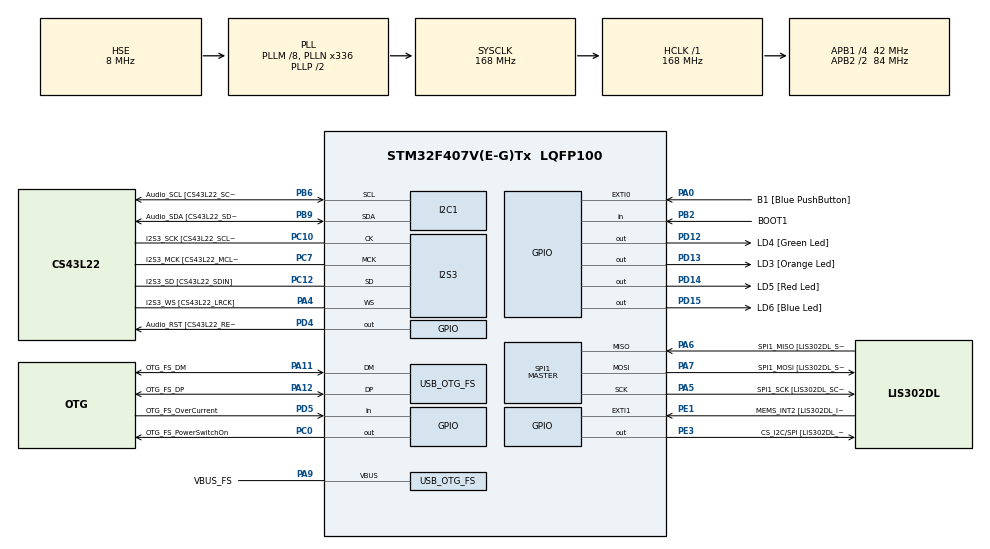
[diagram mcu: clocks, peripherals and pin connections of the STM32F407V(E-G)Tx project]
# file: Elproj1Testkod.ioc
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FREERTOS.Tasks01=PrintText,24,128,StartDefaultTask,Default,NULL,Dynamic,NULL,NULL;SkibidiRizzler,8,128,StartTask02,Default,NULL,Dynamic,NULL,NULL
I2S3.AudioFreq-Half_Duplex_Master=I2S_AUDIOFREQ_96K
I2S3.ErrorAudioFreq=-2.34 %
I2S3.ErrorAudioFreq-Half_Duplex_Master=0.8 %
I2S3.FullDuplexMode=I2S_FULLDUPLEXMODE_DISABLE
I2S3.Instance=SPI$Index
I2S3.RealAudioFreq=93.75 KHz
I2S3.RealAudioFreq-Half_Duplex_Master=96.774 KHz
I2S3.VirtualMode=I2S_MODE_MASTER
Mcu.Family=STM32F4
Mcu.Name=STM32F407V(E-G)Tx
Mcu.Package=LQFP100
NVIC.OTG_FS_IRQn=true\:5\:0\:false\:false\:true\:true\:true\:true\:true
NVIC.PriorityGroup=NVIC_PRIORITYGROUP_4
PA0-WKUP.GPIO_Label=B1 [Blue PushButton]
PA0-WKUP.GPIO_ModeDefaultEXTI=GPIO_MODE_EVT_RISING
PA0-WKUP.GPIO_PuPd=GPIO_NOPULL
PA0-WKUP.Signal=GPXTI0
PA10.GPIO_Label=OTG_FS_ID
PA10.GPIO_Mode=GPIO_MODE_AF_PP
PA10.GPIO_PuPd=GPIO_NOPULL
PA10.GPIO_Speed=GPIO_SPEED_FREQ_LOW
PA10.Signal=USB_OTG_FS_ID
PA11.GPIO_Label=OTG_FS_DM
PA11.GPIO_Mode=GPIO_MODE_AF_PP
PA11.GPIO_PuPd=GPIO_NOPULL
PA11.GPIO_Speed=GPIO_SPEED_FREQ_LOW
PA11.Mode=Host_Only
PA11.Signal=USB_OTG_FS_DM
PA12.GPIO_Label=OTG_FS_DP
PA12.GPIO_Mode=GPIO_MODE_AF_PP
PA12.GPIO_PuPd=GPIO_NOPULL
PA12.GPIO_Speed=GPIO_SPEED_FREQ_LOW
PA12.Mode=Host_Only
PA12.Signal=USB_OTG_FS_DP
PA13.GPIO_Label=SWDIO
PA13.Mode=Serial_Wire
PA13.Signal=SYS_JTMS-SWDIO
PA14.GPIO_Label=SWCLK
PA14.Mode=Serial_Wire
PA14.Signal=SYS_JTCK-SWCLK
PA4.GPIO_Label=I2S3_WS [CS43L22_LRCK]
PA4.GPIO_Mode=GPIO_MODE_AF_PP
PA4.GPIO_PuPd=GPIO_NOPULL
PA4.GPIO_Speed=GPIO_SPEED_FREQ_LOW
PA4.Mode=Half_Duplex_Master
PA4.Signal=I2S3_WS
PA5.GPIO_Label=SPI1_SCK [LIS302DL_SCL/SPC]
PA5.GPIO_Mode=GPIO_MODE_AF_PP
PA5.GPIO_PuPd=GPIO_NOPULL
PA5.GPIO_Speed=GPIO_SPEED_FREQ_LOW
PA5.Mode=Full_Duplex_Master
PA5.Signal=SPI1_SCK
PA6.GPIO_Label=SPI1_MISO [LIS302DL_SDO]
PA6.GPIO_Mode=GPIO_MODE_AF_PP
PA6.GPIO_PuPd=GPIO_NOPULL
PA6.GPIO_Speed=GPIO_SPEED_FREQ_LOW
PA6.Mode=Full_Duplex_Master
PA6.Signal=SPI1_MISO
PA7.GPIO_Label=SPI1_MOSI [LIS302DL_SDA/SDI/SDO]
PA7.GPIO_Mode=GPIO_MODE_AF_PP
PA7.GPIO_PuPd=GPIO_NOPULL
PA7.GPIO_Speed=GPIO_SPEED_FREQ_LOW
PA7.Mode=Full_Duplex_Master
PA7.Signal=SPI1_MOSI
PA9.GPIO_Label=VBUS_FS
PA9.GPIO_Mode=GPIO_MODE_INPUT
PA9.GPIO_PuPd=GPIO_NOPULL
PA9.Mode=Activate_VBUS
PA9.Signal=USB_OTG_FS_VBUS
PB10.GPIO_Label=CLK_IN [MP45DT02_CLK]
PB10.GPIO_Mode=GPIO_MODE_AF_PP
PB10.GPIO_PuPd=GPIO_NOPULL
PB10.GPIO_Speed=GPIO_SPEED_FREQ_LOW
PB10.Signal=I2S2_CK
PB2.GPIO_Label=BOOT1
PB2.GPIO_Mode=GPIO_MODE_INPUT
PB2.GPIO_PuPd=GPIO_NOPULL
PB2.Signal=GPIO_Input
PB3.GPIO_Label=SWO
PB3.Signal=SYS_JTDO-SWO
PB6.GPIO_Label=Audio_SCL [CS43L22_SCL]
PB6.GPIO_Mode=GPIO_MODE_AF_OD
PB6.GPIO_Pu=GPIO_PULLUP
PB6.GPIO_PuPd=GPIO_NOPULL
PB6.GPIO_Speed=GPIO_SPEED_FREQ_LOW
PB6.Mode=I2C
PB6.Signal=I2C1_SCL
PB9.GPIO_Label=Audio_SDA [CS43L22_SDA]
PB9.GPIO_Mode=GPIO_MODE_AF_OD
PB9.GPIO_Pu=GPIO_PULLUP
PB9.GPIO_PuPd=GPIO_NOPULL
PB9.GPIO_Speed=GPIO_SPEED_FREQ_LOW
PB9.Mode=I2C
PB9.Signal=I2C1_SDA
PC0.GPIO_Label=OTG_FS_PowerSwitchOn
PC0.GPIO_PuPd=GPIO_NOPULL
PC0.GPIO_Speed=GPIO_SPEED_FREQ_LOW
PC0.PinState=GPIO_PIN_SET
PC0.Signal=GPIO_Output
PC10.GPIO_Label=I2S3_SCK [CS43L22_SCLK]
PC10.GPIO_Mode=GPIO_MODE_AF_PP
PC10.GPIO_PuPd=GPIO_NOPULL
PC10.GPIO_Speed=GPIO_SPEED_FREQ_LOW
PC10.Mode=Half_Duplex_Master
PC10.Signal=I2S3_CK
PC12.GPIO_Label=I2S3_SD [CS43L22_SDIN]
PC12.GPIO_Mode=GPIO_MODE_AF_PP
PC12.GPIO_PuPd=GPIO_NOPULL
PC12.GPIO_Speed=GPIO_SPEED_FREQ_LOW
PC12.Mode=Half_Duplex_Master
PC12.Signal=I2S3_SD
PC14-OSC32_IN.GPIO_Label=PC14-OSC32_IN
PC14-OSC32_IN.Mode=LSE-External-Oscillator
PC14-OSC32_IN.Signal=RCC_OSC32_IN
PC15-OSC32_OUT.GPIO_Label=PC15-OSC32_OUT
PC15-OSC32_OUT.Mode=LSE-External-Oscillator
PC15-OSC32_OUT.Signal=RCC_OSC32_OUT
PC3.GPIO_Label=PDM_OUT [MP45DT02_DOUT]
PC3.GPIO_Mode=GPIO_MODE_AF_PP
PC3.GPIO_PuPd=GPIO_NOPULL
PC3.GPIO_Speed=GPIO_SPEED_FREQ_LOW
PC3.Signal=I2S2_SD
PC7.GPIO_Label=I2S3_MCK [CS43L22_MCLK]
PC7.GPIO_Mode=GPIO_MODE_AF_PP
PC7.GPIO_PuPd=GPIO_NOPULL
PC7.GPIO_Speed=GPIO_SPEED_FREQ_LOW
PC7.Mode=Master_Clock_Activated
PC7.Signal=I2S3_MCK
PD12.GPIO_Label=LD4 [Green Led]
PD12.GPIO_PuPd=GPIO_NOPULL
PD12.GPIO_Speed=GPIO_SPEED_FREQ_LOW
PD12.Signal=GPIO_Output
PD13.GPIO_Label=LD3 [Orange Led]
PD13.GPIO_PuPd=GPIO_NOPULL
PD13.GPIO_Speed=GPIO_SPEED_FREQ_LOW
PD13.Signal=GPIO_Output
PD14.GPIO_Label=LD5 [Red Led]
PD14.GPIO_PuPd=GPIO_NOPULL
PD14.GPIO_Speed=GPIO_SPEED_FREQ_LOW
PD14.Signal=GPIO_Output
PD15.GPIO_Label=LD6 [Blue Led]
PD15.GPIO_PuPd=GPIO_NOPULL
PD15.GPIO_Speed=GPIO_SPEED_FREQ_LOW
PD15.Signal=GPIO_Output
PD4.GPIO_Label=Audio_RST [CS43L22_RESET]
PD4.GPIO_PuPd=GPIO_NOPULL
PD4.GPIO_Speed=GPIO_SPEED_FREQ_LOW
PD4.Signal=GPIO_Output
PD5.GPIO_Label=OTG_FS_OverCurrent
PD5.GPIO_Mode=GPIO_MODE_INPUT
PD5.GPIO_PuPd=GPIO_NOPULL
PD5.Signal=GPIO_Input
PE1.GPIO_Label=MEMS_INT2 [LIS302DL_INT2]
PE1.GPIO_ModeDefaultEXTI=GPIO_MODE_EVT_RISING
PE1.GPIO_PuPd=GPIO_NOPULL
PE1.Signal=GPXTI1
PE3.GPIO_Label=CS_I2C/SPI [LIS302DL_CS_I2C/SPI]
PE3.GPIO_PuPd=GPIO_NOPULL
PE3.GPIO_Speed=GPIO_SPEED_FREQ_LOW
PE3.Signal=GPIO_Output
PH0-OSC_IN.GPIO_Label=PH0-OSC_IN
PH0-OSC_IN.Mode=HSE-External-Oscillator
PH0-OSC_IN.Signal=RCC_OSC_IN
PH1-OSC_OUT.GPIO_Label=PH1-OSC_OUT
PH1-OSC_OUT.Mode=HSE-External-Oscillator
PH1-OSC_OUT.Signal=RCC_OSC_OUT
ProjectManager.HeapSize=0x200
ProjectManager.StackSize=0x400
ProjectManager.TargetToolchain=STM32CubeIDE
RCC.48MHZClocksFreq_Value=48000000
RCC.AHBFreq_Value=168000000
RCC.APB1CLKDivider=RCC_HCLK_DIV4
RCC.APB1Freq_Value=42000000
RCC.APB1TimFreq_Value=84000000
RCC.APB2CLKDivider=RCC_HCLK_DIV2
RCC.APB2Freq_Value=84000000
RCC.APB2TimFreq_Value=168000000
RCC.CortexFreq_Value=168000000
RCC.HCLKFreq_Value=168000000
RCC.HSE_VALUE=8000000
RCC.HSI_VALUE=16000000
RCC.PLLM=8
RCC.PLLN=336
RCC.PLLQ=7
RCC.SYSCLKFreq_VALUE=168000000
RCC.SYSCLKSource=RCC_SYSCLKSOURCE_PLLCLK
RCC.VCOOutputFreq_Value=336000000
SPI1.BaudRatePrescaler-Full_Duplex_Master=SPI_BAUDRATEPRESCALER_2
SPI1.CalculateBaudRate-Full_Duplex_Master=42.0 MBits/s
SPI1.Direction=SPI_DIRECTION_2LINES
SPI1.Mode=SPI_MODE_MASTER
SPI1.Mode-Full_Duplex_Master=SPI_MODE_MASTER
SPI1.VirtualType=VM_MASTER
USB_HOST.BSP.number=1
USB_HOST.USBH_HandleTypeDef-CDC_FS=hUsbHostFS
USB_HOST.VirtualModeFS=Cdc
USB_HOST0.BSP.STBoard=false
USB_HOST0.BSP.api=Unknown
USB_HOST0.BSP.instance=PC0
USB_HOST0.BSP.ip=GPIO
USB_HOST0.BSP.mode=Output
USB_HOST0.BSP.name=Drive_VBUS_FS
USB_HOST0.BSP.solution=PC0
USB_OTG_FS.VirtualMode=Host_Only
USB_OTG_FS.phy_itface=HCD_PHY_EMBEDDED
VP_FREERTOS_VS_CMSIS_V2.Mode=CMSIS_V2
VP_USB_HOST_VS_USB_HOST_CDC_FS.Mode=CDC_FS
board=STM32F407G-DISC1

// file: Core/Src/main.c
/* USER CODE BEGIN Header */
/**
  ******************************************************************************
  * @file           : main.c
  * @brief          : Main program body
  ******************************************************************************
  * @attention
  *
  * Copyright (c) 2025 STMicroelectronics.
  * All rights reserved.
  *
  * This software is licensed under terms that can be found in the LICENSE file
  * in the root directory of this software component.
  * If no LICENSE file comes with this software, it is provided AS-IS.
  *
  ******************************************************************************
  */
/* USER CODE END Header */
#include "main.h"
#include "cmsis_os.h"
#include "usb_host.h"

I2C_HandleTypeDef hi2c1;

I2S_HandleTypeDef hi2s3;

SPI_HandleTypeDef hspi1;

/* Definitions for PrintText */
osThreadId_t PrintTextHandle;
const osThreadAttr_t PrintText_attributes = {
  .name = "PrintText",
  .stack_size = 128 * 4,
  .priority = (osPriority_t) osPriorityNormal,
};
/* Definitions for SkibidiRizzler */
osThreadId_t SkibidiRizzlerHandle;
const osThreadAttr_t SkibidiRizzler_attributes = {
  .name = "SkibidiRizzler",
  .stack_size = 128 * 4,
  .priority = (osPriority_t) osPriorityLow,
};

void SystemClock_Config(void);
static void MX_GPIO_Init(void);
static void MX_I2C1_Init(void);
static void MX_I2S3_Init(void);
static void MX_SPI1_Init(void);
void StartDefaultTask(void *argument);
void StartTask02(void *argument);

int main(void)
{

  /* MCU Configuration--------------------------------------------------------*/

  /* Reset of all peripherals, Initializes the Flash interface and the Systick. */
  HAL_Init();

  /* Configure the system clock */
  SystemClock_Config();

  /* Initialize all configured peripherals */
  MX_GPIO_Init();
  MX_I2C1_Init();
  MX_I2S3_Init();
  MX_SPI1_Init();
  /* USER CODE BEGIN 2 */
  HAL_Delay(1000);
  printf("Booted!\n");
  HAL_Delay(1000);
  HAL_GPIO_TogglePin (GPIOD, GPIO_PIN_14);
  /* USER CODE END 2 */

  /* Init scheduler */
  osKernelInitialize();

  /* Create the thread(s) */
  /* creation of PrintText */
  PrintTextHandle = osThreadNew(StartDefaultTask, NULL, &PrintText_attributes);

  /* creation of SkibidiRizzler */
  SkibidiRizzlerHandle = osThreadNew(StartTask02, NULL, &SkibidiRizzler_attributes);

  /* Start scheduler */
  osKernelStart();

  /* We should never get here as control is now taken by the scheduler */

  /* Infinite loop */
  while (1)
  {

    /* USER CODE BEGIN 3 */
    HAL_GPIO_TogglePin (GPIOD, GPIO_PIN_14);
    HAL_GPIO_TogglePin (GPIOD, GPIO_PIN_15);
    HAL_GPIO_TogglePin (GPIOD, GPIO_PIN_12);
    HAL_GPIO_TogglePin (GPIOD, GPIO_PIN_13);
    HAL_Delay (100);
	printf("Hello Stopp!\n");
	printf("I like sussy bussin balls\n")
  }
  /* USER CODE END 3 */
}

void SystemClock_Config(void)
{
  RCC_OscInitTypeDef RCC_OscInitStruct = {0};
  RCC_ClkInitTypeDef RCC_ClkInitStruct = {0};

  /** Configure the main internal regulator output voltage
  */
  __HAL_RCC_PWR_CLK_ENABLE();
  __HAL_PWR_VOLTAGESCALING_CONFIG(PWR_REGULATOR_VOLTAGE_SCALE1);

  /** Initializes the RCC Oscillators according to the specified parameters
  * in the RCC_OscInitTypeDef structure.
  */
  RCC_OscInitStruct.OscillatorType = RCC_OSCILLATORTYPE_HSE;
  RCC_OscInitStruct.HSEState = RCC_HSE_ON;
  RCC_OscInitStruct.PLL.PLLState = RCC_PLL_ON;
  RCC_OscInitStruct.PLL.PLLSource = RCC_PLLSOURCE_HSE;
  RCC_OscInitStruct.PLL.PLLM = 8;
  RCC_OscInitStruct.PLL.PLLN = 336;
  RCC_OscInitStruct.PLL.PLLP = RCC_PLLP_DIV2;
  RCC_OscInitStruct.PLL.PLLQ = 7;
  if (HAL_RCC_OscConfig(&RCC_OscInitStruct) != HAL_OK)
  {
    Error_Handler();
  }

  /** Initializes the CPU, AHB and APB buses clocks
  */
  RCC_ClkInitStruct.ClockType = RCC_CLOCKTYPE_HCLK|RCC_CLOCKTYPE_SYSCLK
                              |RCC_CLOCKTYPE_PCLK1|RCC_CLOCKTYPE_PCLK2;
  RCC_ClkInitStruct.SYSCLKSource = RCC_SYSCLKSOURCE_PLLCLK;
  RCC_ClkInitStruct.AHBCLKDivider = RCC_SYSCLK_DIV1;
  RCC_ClkInitStruct.APB1CLKDivider = RCC_HCLK_DIV4;
  RCC_ClkInitStruct.APB2CLKDivider = RCC_HCLK_DIV2;

  if (HAL_RCC_ClockConfig(&RCC_ClkInitStruct, FLASH_LATENCY_5) != HAL_OK)
  {
    Error_Handler();
  }
}

static void MX_I2C1_Init(void)
{

  hi2c1.Instance = I2C1;
  hi2c1.Init.ClockSpeed = 100000;
  hi2c1.Init.DutyCycle = I2C_DUTYCYCLE_2;
  hi2c1.Init.OwnAddress1 = 0;
  hi2c1.Init.AddressingMode = I2C_ADDRESSINGMODE_7BIT;
  hi2c1.Init.DualAddressMode = I2C_DUALADDRESS_DISABLE;
  hi2c1.Init.OwnAddress2 = 0;
  hi2c1.Init.GeneralCallMode = I2C_GENERALCALL_DISABLE;
  hi2c1.Init.NoStretchMode = I2C_NOSTRETCH_DISABLE;
  if (HAL_I2C_Init(&hi2c1) != HAL_OK)
  {
    Error_Handler();
  }

}

static void MX_I2S3_Init(void)
{

  hi2s3.Instance = SPI3;
  hi2s3.Init.Mode = I2S_MODE_MASTER_TX;
  hi2s3.Init.Standard = I2S_STANDARD_PHILIPS;
  hi2s3.Init.DataFormat = I2S_DATAFORMAT_16B;
  hi2s3.Init.MCLKOutput = I2S_MCLKOUTPUT_ENABLE;
  hi2s3.Init.AudioFreq = I2S_AUDIOFREQ_96K;
  hi2s3.Init.CPOL = I2S_CPOL_LOW;
  hi2s3.Init.ClockSource = I2S_CLOCK_PLL;
  hi2s3.Init.FullDuplexMode = I2S_FULLDUPLEXMODE_DISABLE;
  if (HAL_I2S_Init(&hi2s3) != HAL_OK)
  {
    Error_Handler();
  }

}

static void MX_SPI1_Init(void)
{

  /* SPI1 parameter configuration*/
  hspi1.Instance = SPI1;
  hspi1.Init.Mode = SPI_MODE_MASTER;
  hspi1.Init.Direction = SPI_DIRECTION_2LINES;
  hspi1.Init.DataSize = SPI_DATASIZE_8BIT;
  hspi1.Init.CLKPolarity = SPI_POLARITY_LOW;
  hspi1.Init.CLKPhase = SPI_PHASE_1EDGE;
  hspi1.Init.NSS = SPI_NSS_SOFT;
  hspi1.Init.BaudRatePrescaler = SPI_BAUDRATEPRESCALER_2;
  hspi1.Init.FirstBit = SPI_FIRSTBIT_MSB;
  hspi1.Init.TIMode = SPI_TIMODE_DISABLE;
  hspi1.Init.CRCCalculation = SPI_CRCCALCULATION_DISABLE;
  hspi1.Init.CRCPolynomial = 10;
  if (HAL_SPI_Init(&hspi1) != HAL_OK)
  {
    Error_Handler();
  }

}

static void MX_GPIO_Init(void)
{
  GPIO_InitTypeDef GPIO_InitStruct = {0};

  /* GPIO Ports Clock Enable */
  __HAL_RCC_GPIOE_CLK_ENABLE();
  __HAL_RCC_GPIOC_CLK_ENABLE();
  __HAL_RCC_GPIOH_CLK_ENABLE();
  __HAL_RCC_GPIOA_CLK_ENABLE();
  __HAL_RCC_GPIOB_CLK_ENABLE();
  __HAL_RCC_GPIOD_CLK_ENABLE();

  /*Configure GPIO pin Output Level */
  HAL_GPIO_WritePin(CS_I2C_SPI_GPIO_Port, CS_I2C_SPI_Pin, GPIO_PIN_RESET);

  /*Configure GPIO pin Output Level */
  HAL_GPIO_WritePin(OTG_FS_PowerSwitchOn_GPIO_Port, OTG_FS_PowerSwitchOn_Pin, GPIO_PIN_SET);

  /*Configure GPIO pin Output Level */
  HAL_GPIO_WritePin(GPIOD, LD4_Pin|LD3_Pin|LD5_Pin|LD6_Pin
                          |Audio_RST_Pin, GPIO_PIN_RESET);

  /*Configure GPIO pin : CS_I2C_SPI_Pin */
  GPIO_InitStruct.Pin = CS_I2C_SPI_Pin;
  GPIO_InitStruct.Mode = GPIO_MODE_OUTPUT_PP;
  GPIO_InitStruct.Pull = GPIO_NOPULL;
  GPIO_InitStruct.Speed = GPIO_SPEED_FREQ_LOW;
  HAL_GPIO_Init(CS_I2C_SPI_GPIO_Port, &GPIO_InitStruct);

  /*Configure GPIO pin : OTG_FS_PowerSwitchOn_Pin */
  GPIO_InitStruct.Pin = OTG_FS_PowerSwitchOn_Pin;
  GPIO_InitStruct.Mode = GPIO_MODE_OUTPUT_PP;
  GPIO_InitStruct.Pull = GPIO_NOPULL;
  GPIO_InitStruct.Speed = GPIO_SPEED_FREQ_LOW;
  HAL_GPIO_Init(OTG_FS_PowerSwitchOn_GPIO_Port, &GPIO_InitStruct);

  /*Configure GPIO pin : PDM_OUT_Pin */
  GPIO_InitStruct.Pin = PDM_OUT_Pin;
  GPIO_InitStruct.Mode = GPIO_MODE_AF_PP;
  GPIO_InitStruct.Pull = GPIO_NOPULL;
  GPIO_InitStruct.Speed = GPIO_SPEED_FREQ_LOW;
  GPIO_InitStruct.Alternate = GPIO_AF5_SPI2;
  HAL_GPIO_Init(PDM_OUT_GPIO_Port, &GPIO_InitStruct);

  /*Configure GPIO pin : B1_Pin */
  GPIO_InitStruct.Pin = B1_Pin;
  GPIO_InitStruct.Mode = GPIO_MODE_EVT_RISING;
  GPIO_InitStruct.Pull = GPIO_NOPULL;
  HAL_GPIO_Init(B1_GPIO_Port, &GPIO_InitStruct);

  /*Configure GPIO pin : BOOT1_Pin */
  GPIO_InitStruct.Pin = BOOT1_Pin;
  GPIO_InitStruct.Mode = GPIO_MODE_INPUT;
  GPIO_InitStruct.Pull = GPIO_NOPULL;
  HAL_GPIO_Init(BOOT1_GPIO_Port, &GPIO_InitStruct);

  /*Configure GPIO pin : CLK_IN_Pin */
  GPIO_InitStruct.Pin = CLK_IN_Pin;
  GPIO_InitStruct.Mode = GPIO_MODE_AF_PP;
  GPIO_InitStruct.Pull = GPIO_NOPULL;
  GPIO_InitStruct.Speed = GPIO_SPEED_FREQ_LOW;
  GPIO_InitStruct.Alternate = GPIO_AF5_SPI2;
  HAL_GPIO_Init(CLK_IN_GPIO_Port, &GPIO_InitStruct);

  /*Configure GPIO pins : LD4_Pin LD3_Pin LD5_Pin LD6_Pin
                           Audio_RST_Pin */
  GPIO_InitStruct.Pin = LD4_Pin|LD3_Pin|LD5_Pin|LD6_Pin
                          |Audio_RST_Pin;
  GPIO_InitStruct.Mode = GPIO_MODE_OUTPUT_PP;
  GPIO_InitStruct.Pull = GPIO_NOPULL;
  GPIO_InitStruct.Speed = GPIO_SPEED_FREQ_LOW;
  HAL_GPIO_Init(GPIOD, &GPIO_InitStruct);

  /*Configure GPIO pin : OTG_FS_OverCurrent_Pin */
  GPIO_InitStruct.Pin = OTG_FS_OverCurrent_Pin;
  GPIO_InitStruct.Mode = GPIO_MODE_INPUT;
  GPIO_InitStruct.Pull = GPIO_NOPULL;
  HAL_GPIO_Init(OTG_FS_OverCurrent_GPIO_Port, &GPIO_InitStruct);

  /*Configure GPIO pin : MEMS_INT2_Pin */
  GPIO_InitStruct.Pin = MEMS_INT2_Pin;
  GPIO_InitStruct.Mode = GPIO_MODE_EVT_RISING;
  GPIO_InitStruct.Pull = GPIO_NOPULL;
  HAL_GPIO_Init(MEMS_INT2_GPIO_Port, &GPIO_InitStruct);

}

/* USER CODE BEGIN 4 */
int _write(int file, char *ptr, int len)
{
  (void)file;
  int DataIdx;

  for (DataIdx = 0; DataIdx < len; DataIdx++)
  {
    //__io_putchar(*ptr++);
	  ITM_SendChar(*ptr++);
  }
  return len;
}
/* USER CODE END 4 */

void StartDefaultTask(void *argument)
{
  /* init code for USB_HOST */
  MX_USB_HOST_Init();
  for(;;)
  {
    osDelay(1);
  }
}

void StartTask02(void *argument)
{
  for(;;)
  {
    osDelay(1);
  }
}

void Error_Handler(void)
{
  __disable_irq();
  while (1)
  {
  }
}
